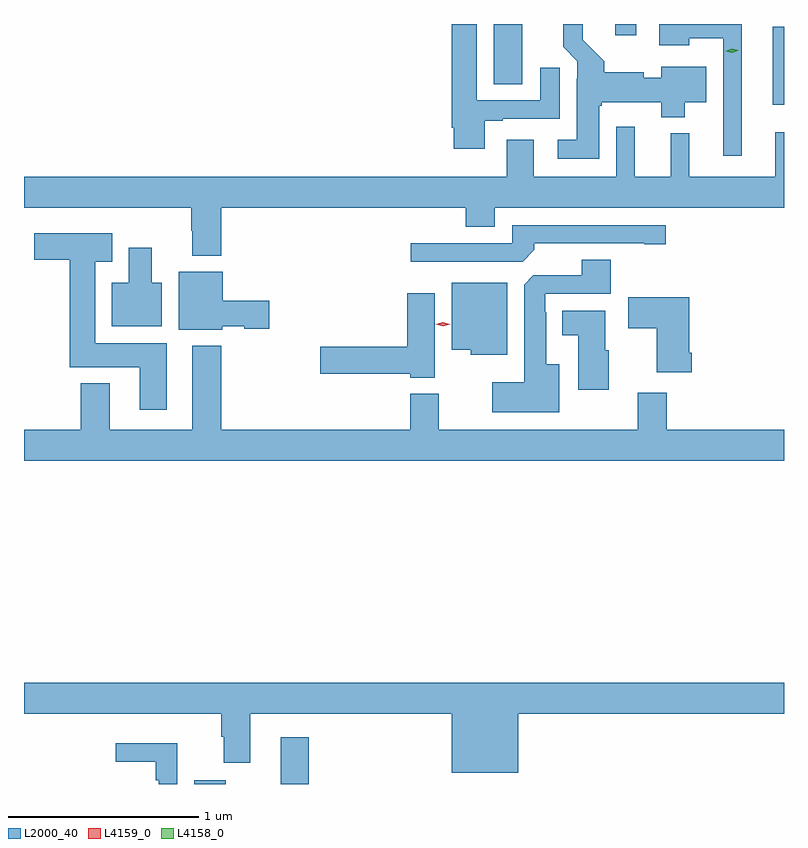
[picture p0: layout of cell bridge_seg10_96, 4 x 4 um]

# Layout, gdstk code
import gdstk
lib = gdstk.Library(unit=1e-6, precision=1e-09)
def R(c, l, rs):  # rectangles x0, y0, x1, y1
    for r in rs: c.add(gdstk.rectangle(r[:2], r[2:], *l))
def P(c, l, *ps):  # polygons
    for p in ps: c.add(gdstk.Polygon(p, *l))
L2000_40 = (2000, 40)
L4158_0 = (4158, 0)
L4159_0 = (4159, 0)

bridge_seg10_96 = lib.new_cell('bridge_seg10_96')
R(bridge_seg10_96, L2000_40, [(509.216,1306.607,509.383,1306.627), (509.672,1306.607,509.819,1306.852), (512.261,1310.183,512.321,1310.593), (510.794,1310.29,510.943,1310.607), (511.433,1310.547,511.543,1310.607)])
P(bridge_seg10_96, L2000_40, [(510.745,1310.097),(510.841,1310.097),(510.841,1310.109),(511.141,1310.109),(511.141,1310.377),(511.037,1310.377),(511.037,1310.205),(510.703,1310.205),(510.703,1310.607),(510.572,1310.607),(510.572,1310.062),(510.584,1310.062),(510.584,1309.95),(510.745,1309.95)],
  [(512.098,1310.607),(511.664,1310.607),(511.664,1310.495),(511.822,1310.495),(511.822,1310.531),(512.001,1310.531),(512.001,1309.914),(512.098,1309.914)],
  [(511.348,1310.178),(511.362,1310.178),(511.362,1310.195),(511.676,1310.195),(511.676,1310.117),(511.798,1310.117),(511.798,1310.195),(511.912,1310.195),(511.912,1310.383),(511.676,1310.383),(511.676,1310.323),(511.582,1310.323),(511.582,1310.353),(511.374,1310.353),(511.374,1310.411),(511.261,1310.524),(511.261,1310.607),(511.159,1310.607),(511.159,1310.486),(511.233,1310.412),(511.233,1310.318),(511.229,1310.318),(511.229,1309.999),(511.131,1309.999),(511.131,1309.898),(511.348,1309.898)],
  [(509.36,1309.64),(510.647,1309.64),(510.647,1309.541),(510.799,1309.541),(510.799,1309.64),(512.321,1309.64),(512.321,1310.038),(512.276,1310.038),(512.276,1309.804),(511.823,1309.804),(511.823,1310.032),(511.724,1310.032),(511.724,1309.804),(511.535,1309.804),(511.535,1310.065),(511.437,1310.065),(511.437,1309.804),(511.003,1309.804),(511.003,1309.999),(510.863,1309.999),(510.863,1309.804),(508.321,1309.804),(508.321,1309.64),(509.2,1309.64),(509.2,1309.52),(509.207,1309.52),(509.207,1309.388),(509.36,1309.388)],
  [(511.007,1309.418),(511.007,1309.452),(511.586,1309.452),(511.586,1309.447),(511.699,1309.447),(511.699,1309.548),(510.891,1309.548),(510.891,1309.452),(510.357,1309.452),(510.357,1309.356),(510.945,1309.356)],
  [(509.071,1308.928),(508.696,1308.928),(508.696,1309.355),(508.786,1309.355),(508.786,1309.507),(508.374,1309.507),(508.374,1309.367),(508.562,1309.367),(508.562,1308.8),(508.931,1308.8),(508.931,1308.576),(509.071,1308.576)],
  [(509.047,1309.246),(508.993,1309.246),(508.993,1309.429),(508.871,1309.429),(508.871,1309.246),(508.784,1309.246),(508.784,1309.016),(509.047,1309.016)],
  [(511.138,1308.817),(511.069,1308.817),(511.069,1309.091),(511.065,1309.091),(511.065,1309.188),(511.409,1309.188),(511.409,1309.367),(511.256,1309.367),(511.256,1309.284),(511.002,1309.284),(510.953,1309.235),(510.953,1308.721),(510.786,1308.721),(510.786,1308.563),(511.138,1308.563)],
  [(509.364,1309.016),(509.481,1309.016),(509.481,1309.004),(509.611,1309.004),(509.611,1309.151),(509.368,1309.151),(509.368,1309.303),(509.135,1309.303),(509.135,1308.998),(509.364,1308.998)],
  [(510.865,1309.246),(510.572,1309.246),(510.572,1308.893),(510.672,1308.893),(510.672,1308.866),(510.865,1308.866)],
  [(510.484,1309.189),(510.338,1309.189),(510.338,1308.908),(509.88,1308.908),(509.88,1308.766),(510.354,1308.766),(510.354,1308.746),(510.484,1308.746)],
  [(511.835,1308.877),(511.822,1308.877),(511.822,1309.168),(511.5,1309.168),(511.5,1309.006),(511.652,1309.006),(511.652,1308.773),(511.835,1308.773)],
  [(511.399,1308.891),(511.381,1308.891),(511.381,1309.099),(511.154,1309.099),(511.154,1308.968),(511.238,1308.968),(511.238,1308.681),(511.399,1308.681)],
  [(512.321,1308.472),(511.703,1308.472),(511.703,1308.667),(511.55,1308.667),(511.55,1308.472),(510.505,1308.472),(510.505,1308.661),(510.353,1308.661),(510.353,1308.472),(509.36,1308.472),(509.36,1308.913),(509.207,1308.913),(509.207,1308.472),(508.771,1308.472),(508.771,1308.715),(508.619,1308.715),(508.619,1308.472),(508.321,1308.472),(508.321,1308.308),(512.321,1308.308)],
  [(510.922,1306.976),(512.321,1306.976),(512.321,1307.14),(508.321,1307.14),(508.321,1306.976),(509.36,1306.976),(509.36,1306.856),(509.372,1306.856),(509.372,1306.719),(509.512,1306.719),(509.512,1306.976),(510.572,1306.976),(510.572,1306.667),(510.922,1306.667)],
  [(509.127,1306.822),(508.803,1306.822),(508.803,1306.724),(509.015,1306.724),(509.015,1306.628),(509.031,1306.628),(509.031,1306.607),(509.127,1306.607)])
P(bridge_seg10_96, L4158_0, [(512.048,1310.456),(512.012,1310.463),(512.011,1310.463),(512.012,1310.464),(512.046,1310.476),(512.083,1310.468),(512.083,1310.468),(512.083,1310.468)])
P(bridge_seg10_96, L4159_0, [(510.527,1309.017),(510.488,1309.026),(510.488,1309.026),(510.488,1309.026),(510.526,1309.037),(510.565,1309.028),(510.565,1309.027),(510.565,1309.027)])

lib.write_gds('bridge_seg10_96.gds')
